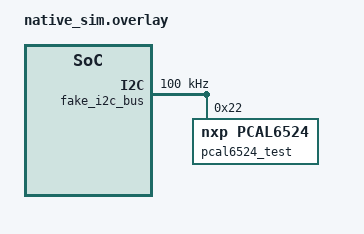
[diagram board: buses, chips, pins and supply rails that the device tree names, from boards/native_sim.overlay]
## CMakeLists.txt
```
# Copyright 2026
# SPDX-License-Identifier: Apache-2.0

cmake_minimum_required(VERSION 3.20.0)
find_package(Zephyr REQUIRED HINTS $ENV{ZEPHYR_BASE})
project(gpio_pca_series)

file(GLOB app_sources src/*.c)
target_sources(app PRIVATE ${app_sources})

zephyr_include_directories(./src)
```

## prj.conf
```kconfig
CONFIG_ZTEST=y
CONFIG_EMUL=y

CONFIG_GPIO=y
CONFIG_I2C=y
CONFIG_I2C_EMUL=y

CONFIG_GPIO_PCA_SERIES=y
CONFIG_GPIO_PCA_SERIES_CACHE_ALL=n
CONFIG_GPIO_PCA_SERIES_INTERRUPT=n
```

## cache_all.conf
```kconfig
CONFIG_GPIO_PCA_SERIES_CACHE_ALL=y
```

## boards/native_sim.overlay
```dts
#include <zephyr/dt-bindings/i2c/i2c.h>

/ {
	aliases {
		gpio-expander = &pcal6524_test;
	};

	fake_i2c_bus: i2c@100 {
		status = "okay";
		compatible = "zephyr,i2c-emul-controller";
		clock-frequency = <I2C_BITRATE_STANDARD>;
		#address-cells = <1>;
		#size-cells = <0>;
		reg = <0x100 0x4>;

		pcal6524_test: pcal6524@22 {
			compatible = "nxp,pcal6524";
			reg = <0x22>;
			status = "okay";
			gpio-controller;
			#gpio-cells = <2>;
			ngpios = <24>;
		};
	};
};
```

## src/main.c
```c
/*
 * Copyright 2026
 *
 * SPDX-License-Identifier: Apache-2.0
 */

#include <stdint.h>

#include <zephyr/device.h>
#include <zephyr/drivers/emul.h>
#include <zephyr/drivers/gpio.h>
#include <zephyr/drivers/i2c.h>
#include <zephyr/dt-bindings/gpio/gpio.h>
#include <zephyr/dt-bindings/gpio/pca-series-gpio.h>
#include <zephyr/kernel.h>
#include <zephyr/ztest.h>

#include "pcal6524_emul.h"

#define PCAL6524_NODE DT_ALIAS(gpio_expander)

#define PCAL6524_OUTPUT_PORT_REG 0x04
#define PCAL6524_OUTPUT_DRIVE_STRENGTH_REG 0x40
#define PCAL6524_OUTPUT_CONFIG_REG 0x70
#define PCA_REG_TYPE_1B_OUTPUT_PORT_TEST 1U
#define PCA_REG_INVALID_TEST 0xffU

BUILD_ASSERT(DT_NODE_HAS_STATUS_OKAY(PCAL6524_NODE), "gpio-expander alias is required");
BUILD_ASSERT(PCA_SERIES_GPIO_DRIVE_STRENGTH_CONFIG(PCA_SERIES_GPIO_DRIVE_STRENGTH_X1) == 0U);
BUILD_ASSERT(PCA_SERIES_GPIO_DRIVE_STRENGTH_CONFIG(PCA_SERIES_GPIO_DRIVE_STRENGTH_X2) == 1U);
BUILD_ASSERT(PCA_SERIES_GPIO_DRIVE_STRENGTH_CONFIG(PCA_SERIES_GPIO_DRIVE_STRENGTH_X3) == 2U);
BUILD_ASSERT(PCA_SERIES_GPIO_DRIVE_STRENGTH_CONFIG(PCA_SERIES_GPIO_DRIVE_STRENGTH_X4) == 3U);
BUILD_ASSERT(PCA_SERIES_GPIO_DRIVE_STRENGTH_ENABLE(PCA_SERIES_GPIO_DRIVE_STRENGTH_X1) == 1U);
BUILD_ASSERT(PCA_SERIES_GPIO_DRIVE_STRENGTH_ENABLE(PCA_SERIES_GPIO_DRIVE_STRENGTH_X4) == 1U);

struct gpio_pca_series_data_test {
	struct gpio_driver_data common;
	struct k_sem lock;
	void *cache;
};

struct gpio_pca_series_part_config_test {
	uint8_t port_no;
	uint8_t flags;
	const uint8_t *regs;
#ifdef CONFIG_GPIO_PCA_SERIES_CACHE_ALL
#ifdef GPIO_NXP_PCA_SERIES_DEBUG
	uint8_t cache_size;
#endif
	const uint8_t *cache_map;
#endif
};

struct gpio_pca_series_config_test {
	struct gpio_driver_config common;
	struct i2c_dt_spec i2c;
	const struct gpio_pca_series_part_config_test *part_cfg;
	struct gpio_dt_spec gpio_rst;
};

static const struct device *const pcal6524_dev = DEVICE_DT_GET(PCAL6524_NODE);
static const struct emul *const pcal6524_emul = EMUL_DT_GET(PCAL6524_NODE);

static void read_reg(uint8_t reg, uint8_t *buf, size_t len)
{
	zassert_ok(pcal6524_emul_get_reg(pcal6524_emul, reg, buf, len));
}

#if !defined(CONFIG_GPIO_PCA_SERIES_CACHE_ALL)
ZTEST(pca_series, test_mini_cache_pointer_uses_dedicated_buffer)
{
	struct gpio_pca_series_data_test *data =
		(struct gpio_pca_series_data_test *)pcal6524_dev->data;
	uintptr_t cache_ptr = (uintptr_t)data->cache;
	uint8_t output_reg[3];

	zassert_true(device_is_ready(pcal6524_dev));
	zassert_not_null(data->cache, "mini-cache pointer was corrupted during init");

	zassert_ok(gpio_pin_configure(pcal6524_dev, 0, GPIO_OUTPUT_LOW));
	zassert_ok(gpio_port_set_bits_raw(pcal6524_dev, BIT(0)));

	zassert_equal(cache_ptr, (uintptr_t)data->cache,
		      "mini-cache write should not alias runtime struct fields");

	read_reg(PCAL6524_OUTPUT_PORT_REG, output_reg, sizeof(output_reg));
	zassert_equal(output_reg[0] & BIT(0), BIT(0));
}
#endif

ZTEST(pca_series, test_open_source_is_rejected)
{
	uint8_t output_cfg[3];

	zassert_ok(gpio_pin_configure(pcal6524_dev, 1, GPIO_OUTPUT_LOW));
	zassert_equal(gpio_pin_configure(pcal6524_dev, 1, GPIO_OUTPUT | GPIO_OPEN_SOURCE),
		      -ENOTSUP);

	read_reg(PCAL6524_OUTPUT_CONFIG_REG, output_cfg, sizeof(output_cfg));
	zassert_equal(output_cfg[0] & BIT(1), 0U);
}

ZTEST(pca_series, test_open_drain_sets_output_config)
{
	uint8_t output_cfg[3];

	zassert_ok(gpio_pin_configure(pcal6524_dev, 2, GPIO_OUTPUT_LOW));
	zassert_ok(gpio_pin_configure(pcal6524_dev, 2, GPIO_OUTPUT | GPIO_OPEN_DRAIN));

	read_reg(PCAL6524_OUTPUT_CONFIG_REG, output_cfg, sizeof(output_cfg));
	zassert_equal(output_cfg[0] & BIT(2), BIT(2));
}

#ifdef CONFIG_GPIO_PCA_SERIES_CACHE_ALL
ZTEST(pca_series, test_full_cache_port_write_path)
{
	uint8_t output_reg[3];

	zassert_ok(gpio_pin_configure(pcal6524_dev, 3, GPIO_OUTPUT_LOW));
	zassert_ok(gpio_port_set_bits_raw(pcal6524_dev, BIT(3)));

	read_reg(PCAL6524_OUTPUT_PORT_REG, output_reg, sizeof(output_reg));
	zassert_equal(output_reg[0] & BIT(3), BIT(3));
}
#endif

ZTEST(pca_series, test_drive_strength_flags_program_register)
{
	uint8_t drive_strength_reg[6];

	zassert_ok(gpio_pin_configure(pcal6524_dev, 0,
				      GPIO_OUTPUT_LOW | PCA_SERIES_GPIO_DRIVE_STRENGTH_X2));

	read_reg(PCAL6524_OUTPUT_DRIVE_STRENGTH_REG,
		 drive_strength_reg, sizeof(drive_strength_reg));
	zassert_equal(drive_strength_reg[0] & 0x3U, 0x1U);
}

#if defined(CONFIG_GPIO_PCA_SERIES_CACHE_ALL) && defined(GPIO_NXP_PCA_SERIES_DEBUG)
ZTEST(pca_series, test_port_write_error_path_releases_lock)
{
	struct gpio_pca_series_data_test *data =
		(struct gpio_pca_series_data_test *)pcal6524_dev->data;
	const struct gpio_pca_series_config_test *real_cfg = pcal6524_dev->config;
	struct gpio_pca_series_part_config_test shadow_part = {
		.port_no = real_cfg->part_cfg->port_no,
		.flags = real_cfg->part_cfg->flags,
		.regs = real_cfg->part_cfg->regs,
#ifdef GPIO_NXP_PCA_SERIES_DEBUG
		.cache_size = real_cfg->part_cfg->cache_size,
#endif
	};
	uint8_t fault_cache_map[16] = { 0U };
	struct gpio_pca_series_config_test shadow_cfg = *real_cfg;
	struct device shadow_dev = *pcal6524_dev;
	int ret;

	fault_cache_map[PCA_REG_TYPE_1B_OUTPUT_PORT_TEST] = PCA_REG_INVALID_TEST;
	shadow_part.cache_map = fault_cache_map;
	shadow_cfg.part_cfg = &shadow_part;
	shadow_dev.config = &shadow_cfg;

	ret = gpio_port_set_bits_raw(&shadow_dev, BIT(4));
	zassert_equal(ret, -EINVAL, "unexpected return %d", ret);
	zassert_ok(k_sem_take(&data->lock, K_NO_WAIT),
		   "device lock should be released on error");
	k_sem_give(&data->lock);
	zassert_ok(gpio_port_set_bits_raw(pcal6524_dev, BIT(4)));
}
#endif

ZTEST_SUITE(pca_series, NULL, NULL, NULL, NULL, NULL);
```

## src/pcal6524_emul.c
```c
/*
 * Copyright 2026
 *
 * SPDX-License-Identifier: Apache-2.0
 */

#define DT_DRV_COMPAT nxp_pcal6524

#include <string.h>

#include <zephyr/device.h>
#include <zephyr/drivers/emul.h>
#include <zephyr/drivers/i2c.h>
#include <zephyr/drivers/i2c_emul.h>
#include <zephyr/logging/log.h>

#include "pcal6524_emul.h"

LOG_MODULE_REGISTER(pcal6524_emul, CONFIG_GPIO_LOG_LEVEL);

struct pcal6524_emul_cfg {
	uint16_t addr;
};

struct pcal6524_emul_data {
	uint8_t regs[256];
};

static int pcal6524_emul_check_range(uint8_t reg, size_t len)
{
	if ((size_t)reg + len > 256U) {
		return -EIO;
	}

	return 0;
}

int pcal6524_emul_get_reg(const struct emul *target, uint8_t reg, uint8_t *buf, size_t len)
{
	struct pcal6524_emul_data *data = target->data;
	int ret;

	if (buf == NULL) {
		return -EINVAL;
	}

	ret = pcal6524_emul_check_range(reg, len);
	if (ret != 0) {
		return ret;
	}

	memcpy(buf, &data->regs[reg], len);

	return 0;
}

int pcal6524_emul_set_reg(const struct emul *target, uint8_t reg, const uint8_t *buf, size_t len)
{
	struct pcal6524_emul_data *data = target->data;
	int ret;

	if (buf == NULL) {
		return -EINVAL;
	}

	ret = pcal6524_emul_check_range(reg, len);
	if (ret != 0) {
		return ret;
	}

	memcpy(&data->regs[reg], buf, len);

	return 0;
}

static int pcal6524_emul_transfer_i2c(const struct emul *target, struct i2c_msg msgs[], int num_msgs,
				      int addr)
{
	const struct pcal6524_emul_cfg *cfg = target->cfg;
	uint8_t reg;
	int ret;

	if ((msgs == NULL) || (num_msgs != 2)) {
		return -EIO;
	}

	if (addr != cfg->addr) {
		return -EIO;
	}

	if ((msgs[0].flags & I2C_MSG_READ) != 0U || msgs[0].len != 1U) {
		return -EIO;
	}

	reg = msgs[0].buf[0];

	if ((msgs[1].flags & I2C_MSG_READ) != 0U) {
		ret = pcal6524_emul_get_reg(target, reg, msgs[1].buf, msgs[1].len);
		if (ret == 0) {
			LOG_DBG("read reg 0x%02x len %u", reg, msgs[1].len);
		}
		return ret;
	}

	ret = pcal6524_emul_set_reg(target, reg, msgs[1].buf, msgs[1].len);
	if (ret == 0) {
		LOG_DBG("write reg 0x%02x len %u", reg, msgs[1].len);
	}

	return ret;
}

static int pcal6524_emul_init(const struct emul *target, const struct device *parent)
{
	ARG_UNUSED(target);
	ARG_UNUSED(parent);

	return 0;
}

static const struct i2c_emul_api pcal6524_emul_api_i2c = {
	.transfer = pcal6524_emul_transfer_i2c,
};

#define PCAL6524_EMUL(n)                                                                     \
	static const struct pcal6524_emul_cfg pcal6524_emul_cfg_##n = {                     \
		.addr = DT_INST_REG_ADDR(n),                                                 \
	};                                                                                 \
	static struct pcal6524_emul_data pcal6524_emul_data_##n;                           \
	EMUL_DT_INST_DEFINE(n, pcal6524_emul_init, &pcal6524_emul_data_##n,                \
			    &pcal6524_emul_cfg_##n, &pcal6524_emul_api_i2c, NULL)

DT_INST_FOREACH_STATUS_OKAY(PCAL6524_EMUL)
```

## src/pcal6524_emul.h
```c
/*
 * Copyright 2026
 *
 * SPDX-License-Identifier: Apache-2.0
 */

#ifndef ZEPHYR_TESTS_DRIVERS_GPIO_PCA_SERIES_PCAL6524_EMUL_H_
#define ZEPHYR_TESTS_DRIVERS_GPIO_PCA_SERIES_PCAL6524_EMUL_H_

#include <stddef.h>
#include <stdint.h>

struct emul;

int pcal6524_emul_get_reg(const struct emul *target, uint8_t reg, uint8_t *buf, size_t len);
int pcal6524_emul_set_reg(const struct emul *target, uint8_t reg, const uint8_t *buf, size_t len);

#endif /* ZEPHYR_TESTS_DRIVERS_GPIO_PCA_SERIES_PCAL6524_EMUL_H_ */
```
